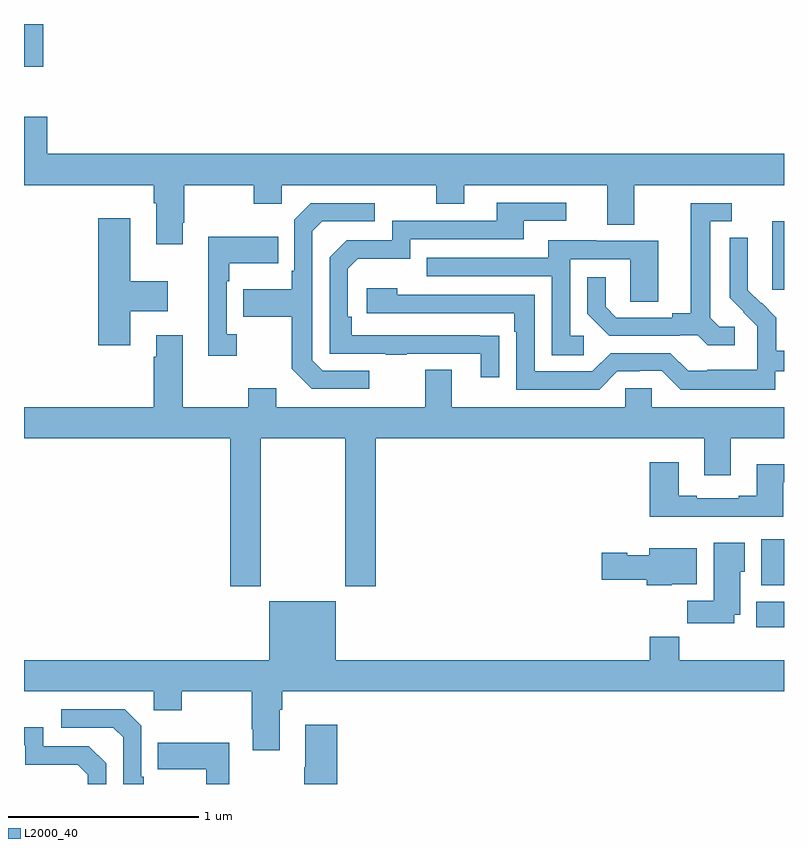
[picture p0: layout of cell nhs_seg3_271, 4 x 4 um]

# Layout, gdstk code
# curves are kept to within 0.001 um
import gdstk
lib = gdstk.Library(unit=1e-6, precision=1e-09)
def R(c, l, rs):  # rectangles x0, y0, x1, y1
    for r in rs: c.add(gdstk.rectangle(r[:2], r[2:], *l))
def P(c, l, *ps):  # polygons
    for p in ps: c.add(gdstk.Polygon(p, *l))
L2000_40 = (2000, 40)

nhs_seg3_271 = lib.new_cell('nhs_seg3_271')
R(nhs_seg3_271, L2000_40, [(126.854,729.224,127,729.358), (126.881,729.446,127,729.688), (126.938,731.001,127,731.362), (123,732.176,123.1,732.4)])
P(nhs_seg3_271, L2000_40, [(123.835,731.353),(123.843,731.353),(123.843,731.552),(124.21,731.552),(124.21,731.453),(124.356,731.453),(124.356,731.552),(125.17,731.552),(125.17,731.453),(125.317,731.453),(125.317,731.552),(126.071,731.552),(126.071,731.344),(126.211,731.344),(126.211,731.552),(127,731.552),(127,731.716),(123.122,731.716),(123.122,731.911),(123,731.911),(123,731.552),(123.683,731.552),(123.683,731.456),(123.695,731.456),(123.695,731.241),(123.835,731.241)],
  [(125.501,730.76),(124.724,730.761),(124.724,730.858),(124.704,730.858),(124.704,731.112),(124.757,731.165),(125.034,731.165),(125.034,731.268),(125.629,731.268),(125.629,731.364),(125.854,731.364),(125.854,731.46),(125.489,731.46),(125.489,731.364),(124.938,731.364),(124.938,731.262),(124.698,731.262),(124.608,731.172),(124.608,730.665),(124.903,730.665),(124.903,730.66),(125.015,730.66),(125.015,730.665),(125.405,730.665),(125.405,730.542),(125.501,730.542)],
  [(126.742,730.806),(126.66,730.806),(126.613,730.853),(126.613,731.361),(126.724,731.361),(126.724,731.457),(126.509,731.457),(126.509,730.877),(126.413,730.877),(126.413,730.854),(126.118,730.854),(126.061,730.911),(126.061,731.068),(125.964,731.068),(125.964,730.874),(126.08,730.758),(126.452,730.758),(126.452,730.761),(126.546,730.761),(126.598,730.709),(126.742,730.709)],
  [(124.816,730.575),(124.572,730.575),(124.518,730.629),(124.518,731.31),(124.569,731.361),(124.846,731.361),(124.846,731.457),(124.509,731.457),(124.422,731.37),(124.422,731.101),(124.41,731.101),(124.41,731.005),(124.153,731.005),(124.153,730.858),(124.41,730.858),(124.41,730.585),(124.515,730.479),(124.816,730.479)],
  [(123.559,730.889),(123.757,730.889),(123.757,731.047),(123.559,731.047),(123.559,731.377),(123.392,731.377),(123.392,730.71),(123.559,730.71)],
  [(124.12,730.766),(124.068,730.766),(124.068,731.045),(124.081,731.045),(124.081,731.141),(124.337,731.141),(124.337,731.281),(123.971,731.281),(123.971,730.653),(124.12,730.653)],
  [(126.954,730.572),(127,730.572),(127,730.681),(126.959,730.681),(126.959,730.855),(126.882,730.932),(126.879,730.929),(126.809,731),(126.81,731.276),(126.714,731.276),(126.714,730.958),(126.86,730.81),(126.86,730.713),(126.858,730.713),(126.858,730.579),(126.595,730.579),(126.595,730.575),(126.495,730.575),(126.402,730.668),(126.087,730.668),(125.991,730.572),(125.688,730.572),(125.688,730.974),(124.964,730.974),(124.964,731.008),(124.803,731.008),(124.803,730.878),(125.579,730.878),(125.579,730.781),(125.592,730.781),(125.592,730.476),(126.027,730.476),(126.123,730.572),(126.242,730.572),(126.242,730.575),(126.357,730.575),(126.457,730.475),(126.954,730.475)],
  [(125.947,730.758),(125.874,730.758),(125.874,731.163),(126.192,731.163),(126.192,730.939),(126.337,730.939),(126.337,731.259),(126.013,731.259),(126.013,731.263),(125.759,731.263),(125.759,731.169),(125.119,731.169),(125.119,731.073),(125.778,731.073),(125.778,730.657),(125.947,730.657)],
  [(124.245,730.22),(124.69,730.22),(124.69,729.441),(124.85,729.441),(124.85,730.22),(126.581,730.22),(126.581,730.026),(126.721,730.026),(126.721,730.22),(127,730.22),(127,730.384),(126.303,730.384),(126.303,730.482),(126.165,730.482),(126.165,730.384),(125.251,730.384),(125.251,730.579),(125.111,730.579),(125.111,730.384),(124.327,730.384),(124.327,730.483),(124.18,730.483),(124.18,730.384),(123.835,730.384),(123.835,730.762),(123.695,730.762),(123.695,730.649),(123.683,730.649),(123.683,730.384),(123,730.384),(123,730.22),(124.085,730.22),(124.085,729.441),(124.245,729.441)],
  [(126.997,729.987),(127,729.987),(127,730.084),(126.857,730.084),(126.857,729.916),(126.761,729.916),(126.761,729.903),(126.541,729.903),(126.541,729.916),(126.445,729.916),(126.445,730.093),(126.293,730.093),(126.293,729.806),(126.997,729.806)],
  [(126.739,729.29),(126.769,729.29),(126.769,729.516),(126.793,729.516),(126.793,729.67),(126.629,729.67),(126.629,729.364),(126.49,729.364),(126.49,729.246),(126.739,729.246)],
  [(126.408,729.452),(126.541,729.452),(126.541,729.64),(126.29,729.64),(126.29,729.604),(126.174,729.604),(126.174,729.617),(126.042,729.617),(126.042,729.475),(126.278,729.475),(126.278,729.446),(126.408,729.446)],
  [(124.345,728.792),(124.358,728.792),(124.358,728.888),(127,728.888),(127,729.052),(126.449,729.052),(126.449,729.176),(126.293,729.176),(126.293,729.052),(124.642,729.052),(124.642,729.361),(124.292,729.361),(124.292,729.052),(123,729.052),(123,728.888),(123.684,728.888),(123.684,728.789),(123.831,728.789),(123.831,728.888),(124.198,728.888),(124.198,728.689),(124.205,728.689),(124.205,728.577),(124.345,728.577)],
  [(123.631,728.437),(123.618,728.437),(123.618,728.706),(123.531,728.793),(123.195,728.793),(123.195,728.697),(123.471,728.697),(123.522,728.646),(123.522,728.4),(123.631,728.4)],
  [(124.649,728.713),(124.481,728.713),(124.481,728.489),(124.474,728.489),(124.474,728.4),(124.649,728.4)],
  [(123.432,728.508),(123.342,728.598),(123.102,728.598),(123.102,728.7),(123,728.7),(123,728.604),(123.006,728.604),(123.006,728.501),(123.283,728.501),(123.336,728.448),(123.336,728.4),(123.432,728.4)],
  [(124.081,728.617),(123.703,728.617),(123.703,728.477),(123.96,728.477),(123.96,728.4),(124.081,728.4)])

lib.write_gds('nhs_seg3_271.gds')
